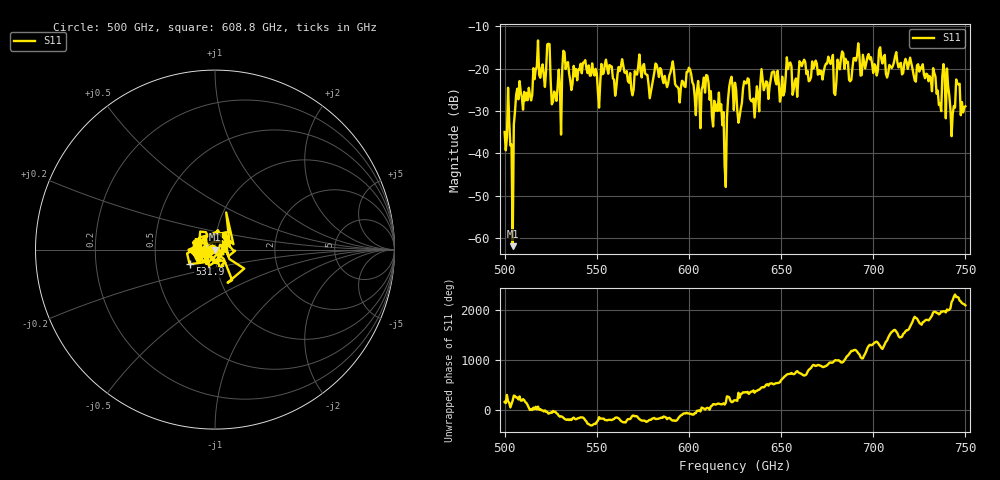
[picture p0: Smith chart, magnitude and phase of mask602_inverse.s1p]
!Created with skrf (http://scikit-rf.org).
# GHz S MA R 50.0
!freq magS11 angS11
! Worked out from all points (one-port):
!   401 points, 500 GHz to 750 GHz, reference 50 ohm
!   lowest |S11| = -61.9 dB at 504.4 GHz (marker M1), VSWR 1.00, Z = 49.9 - j0.0189 ohm
!   |S11| at or under -10 dB: start of sweep to end of sweep
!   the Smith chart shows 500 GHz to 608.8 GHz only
!   S11 on the Smith chart (normalised r, x): 500 GHz: 0.97, +0.01; 531.9 GHz: 0.74, -0.12; 608.8 GHz: 1.11, +0.02
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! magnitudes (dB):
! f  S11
! 500 GHz  -34.9
! 502.5 GHz  -32.5
! 504.4 GHz  -61.9
! 506.9 GHz  -24.7
! 513.8 GHz  -26.2
! 516.9 GHz  -20.3
! 523.8 GHz  -14.1
! 526.9 GHz  -25.4
! 531.2 GHz  -20.3
! 531.9 GHz  -15.7
! 562.5 GHz  -20.5
! 579.4 GHz  -25.4
! 590.6 GHz  -19.6
! 593.8 GHz  -24.3
! 600 GHz  -19.7
! 605 GHz  -22.9
! 608.8 GHz  -25.6
! 617.5 GHz  -28.4
! 619.4 GHz  -42.9
! 622.5 GHz  -22.7
! 625 GHz  -23.3
! 627.5 GHz  -31.3
! 631.2 GHz  -23.5
! 656.2 GHz  -26.2
! 687.5 GHz  -23.0
! 691.2 GHz  -16.9
! 718.8 GHz  -20.0
! 750 GHz  -28.9
